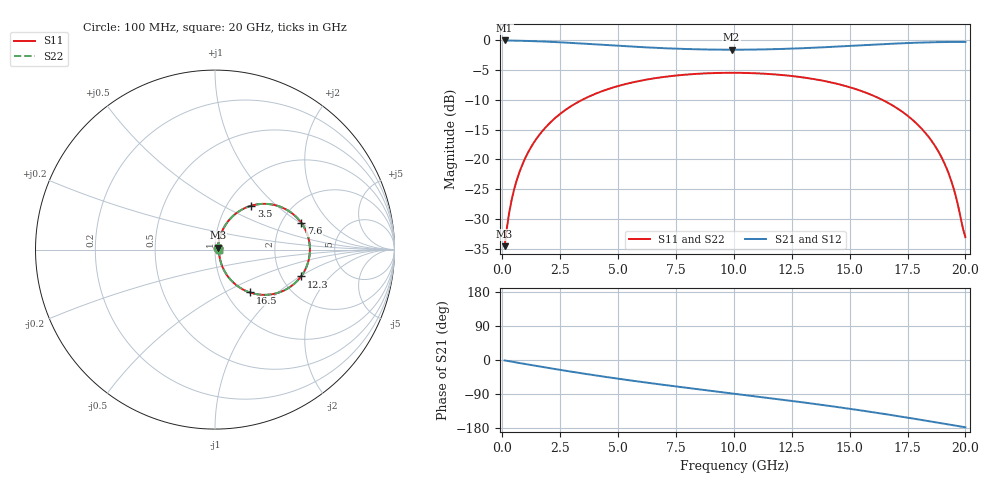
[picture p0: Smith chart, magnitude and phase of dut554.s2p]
! Touchstone file exported from HFSS 2026.1.0
!  File:  C:/ffzhzh/LocalFiles/Ansys_Project_Files/temp_train_TSV_RDL_554_1783115323_53076.aedt
!  Generated:  06:00:34 AM Jul  4, 2026
!  Design:  TSV_RDL
!  Project:  temp_train_TSV_RDL_554_1783115323_53076
! Variables:
!  h_bsmrdl = 3.93um
!  h_ox = 20um
!  h_rdl = 5um
!  h_sub = 73.4um
!  h_tmrdl = 3.6um
!  h_tsv = 73.4um
!  h_via = 3um
!  l_bsmrdl = 181.22um
!  l_sub = 2999.93um
!  l_tmrdl = 483.91um
!  m_sub = 200um
!  pitch = 44.55um
!  r_tsv = 4.41um
!  s_tmrdl = 10um
!  w_bsmrdl = 19.07um
!  w_sub = 500um
!  w_tmrdl = 21.14um
!  x_tsv_center1 = 494.48um
!  x_tsv_center2 = 694.77um
!  x_tsv_center3 = 1199.82um
!  x_tsv_center4 = 1400.11um
!  x_tsv_center5 = 1905.16um
!  x_tsv_center6 = 2105.45um
# GHz S MA R 50.000000
! Terminal data exported
! Port[1] = TM_RDL1_1_T1
! Port[2] = TM_RDL5_1_T1
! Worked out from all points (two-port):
!   200 points, 100 MHz to 20 GHz, reference 50 ohm
!   highest |S21| = -0.13 dB at 100 MHz (marker M1); lowest = -1.7 dB at 9.9 GHz (marker M2)
!   |S21| within 3 dB of the highest: start of sweep to end of sweep
!   lowest |S11| = -34.5 dB at 100 MHz (marker M3), VSWR 1.04, Z = 51.6 + j1.11 ohm
!   |S11| at or under -10 dB: start of sweep to 3.475 GHz; 16.39 GHz to end of sweep
!   |S22| runs from -34.5 to -5.5 dB; largest |S21 - S12| = 2e-14
!   S11 on the Smith chart (normalised r, x): 100 MHz: 1.03, +0.02; 3.5 GHz: 1.29, +0.70; 7.6 GHz: 2.57, +1.02; 12.3 GHz: 2.55, -1.02; 16.5 GHz: 1.28, -0.68; 20 GHz: 1.04, -0.01
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0.1  0.0189 34.6  0.9846 -1.1  0.9846 -1.1  0.0189 34.6
! Gamma 0 0 0 0
! Port Impedance 50 0 50 0
0.3  0.03613 59.6  0.983 -3.3  0.983 -3.3  0.03613 59.6
0.5  0.05517 66.3  0.9813 -5.4  0.9813 -5.4  0.05517 66.3
0.8  0.08414 69.0  0.9785 -8.6  0.9785 -8.6  0.08414 69.0
1.1  0.1131 68.9  0.9752 -11.7  0.9752 -11.7  0.1131 68.9
1.6  0.1605 66.2  0.968 -16.9  0.968 -16.9  0.1605 66.2
2.1  0.2059 62.4  0.9589 -22.1  0.9589 -22.1  0.2059 62.4
3.5  0.318 50.4  0.9265 -35.8  0.9265 -35.8  0.318 50.4
5.1  0.415 36.7  0.8866 -50.2  0.8866 -50.2  0.415 36.7
6.8  0.4831 23.1  0.8515 -64.3  0.8515 -64.3  0.4831 23.2
7.6  0.504 17.1  0.8395 -70.6  0.8395 -70.6  0.504 17.1
9.9  0.5289 0.2  0.8241 -88.0  0.8241 -88.0  0.5289 0.2
10.1  0.5288 -1.2  0.8242 -89.5  0.8242 -89.5  0.5287 -1.2
12.3  0.5021 -17.4  0.839 -106.4  0.839 -106.4  0.5021 -17.3
13.4  0.4707 -25.7  0.8553 -115.2  0.8553 -115.2  0.4707 -25.7
15  0.4011 -38.4  0.8862 -128.7  0.8862 -128.7  0.401 -38.4
16.5  0.3083 -50.8  0.918 -142.4  0.918 -142.4  0.3082 -50.8
16.7  0.2939 -52.5  0.922 -144.3  0.922 -144.3  0.2939 -52.4
17.9  0.1988 -61.9  0.943 -156.1  0.943 -156.1  0.1987 -61.8
18.8  0.1196 -66.6  0.9534 -165.2  0.9534 -165.2  0.1196 -66.5
19.4  0.06545 -63.6  0.9569 -171.4  0.9569 -171.4  0.06547 -63.4
20  0.02246 -11.7  0.9574 -177.6  0.9574 -177.6  0.02264 -11.5
